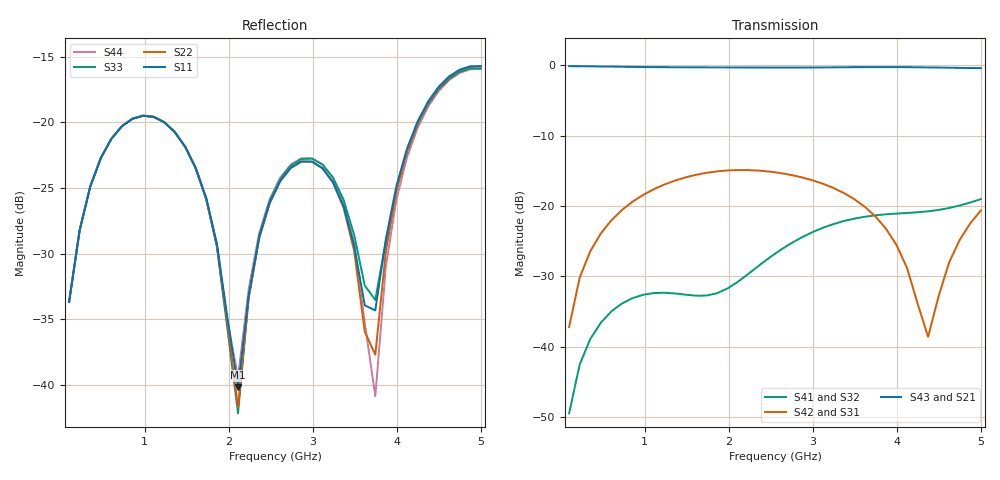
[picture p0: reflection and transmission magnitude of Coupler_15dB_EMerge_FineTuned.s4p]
! Generated by EMerge - 4-port S-parameters
! File generated: 2026-02-18 06:08
! --- Coupler_15dB ---
! Substrate: RO4003C
! h = 0.508 mm
! Design parameters:
! W0 = 1.08 mm
! L_coupled = 22.75 mm
! W_coupled = 1.0 mm
! S_coupled = 0.36 mm
! L_feed = 10.0 mm
! L_trans = 1.0 mm
! Air box height = 10 mm
! Run time = 0.91 min
# GHZ S RI R 50
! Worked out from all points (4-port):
!   40 points, 100 MHz to 5 GHz, reference 50 ohm
!   strongest paths, dB at 100 MHz, 1.356 GHz, 2.613 GHz, 3.869 GHz, 5 GHz:
!     S43: -0.1, -0.3, -0.3, -0.3, -0.4
!     S21: -0.1, -0.3, -0.3, -0.3, -0.4
!     S42: -37.2, -16.4, -15.3, -23.2, -20.6
!     S31: -37.2, -16.4, -15.3, -23.3, -20.6
!     S41: -49.5, -32.4, -26.3, -21.2, -19.0
!     S32: -49.5, -32.5, -26.3, -21.2, -19.0
!   lowest |S11| = -40.2 dB at 2.11 GHz (marker M1), VSWR 1.02, Z = 51 + j0.131 ohm
!   |S11| at or under -10 dB: start of sweep to end of sweep
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0.1  0.0148 0.0145  0.9738 -0.153  0.0022 0.0136  -0.000736 -0.00328
     0.9738 -0.153  0.0148 0.0145  -0.000738 -0.00328  0.00221 0.0136
     0.0022 0.0136  -0.000738 -0.00328  0.0148 0.0146  0.9738 -0.153
     -0.000737 -0.00328  0.00221 0.0136  0.9738 -0.153  0.0148 0.0146
1.105128  0.1032 -0.0183  -0.1329 -0.9616  0.1299 -0.0198  -0.0187 0.0151
          -0.1329 -0.9616  0.1029 -0.0199  -0.0185 0.0152  0.1298 -0.0202
          0.1299 -0.0198  -0.0185 0.0152  0.1031 -0.0194  -0.1331 -0.9615
          -0.0187 0.0151  0.1298 -0.0202  -0.133 -0.9615  0.1032 -0.0189
2.110256  0.00974 0.00128  -0.9594 0.1058  -0.0188 -0.1791  0.00177 0.0289
          -0.9594 0.1058  0.0081 0.0015  0.00169 0.0284  -0.02 -0.179
          -0.0189 -0.1791  0.00169 0.0285  0.00744 0.00236  -0.9593 0.1062
          0.00177 0.0289  -0.0199 -0.179  -0.9594 0.1061  0.0106 0.00195
2.989744  0.0704 0.00745  -0.1043 0.9591  -0.1508 -0.0217  0.0629 0.0158
          -0.1043 0.9591  0.0707 0.00488  0.0625 0.016  -0.1513 -0.0202
          -0.1509 -0.0216  0.0625 0.016  0.0719 0.0104  -0.1039 0.959
          0.063 0.0158  -0.1514 -0.0203  -0.104 0.959  0.073 0.00222
3.869231  0.0102 0.0344  0.9252 0.296  -0.0184 0.0655  0.0228 -0.0841
          0.9251 0.296  0.00322 0.0321  0.0232 -0.0838  -0.0169 0.0669
          -0.0184 0.0656  0.0232 -0.0839  0.0138 0.0325  0.9253 0.2959
          0.0228 -0.0842  -0.017 0.067  0.9253 0.296  0.00146 0.0282
4.371795  0.0758 0.0929  0.8567 -0.4454  0.00817 -0.0059  -0.0429 -0.0809
          0.8566 -0.4453  0.0691 0.0963  -0.0425 -0.0811  0.0102 -0.00585
          0.00825 -0.00584  -0.0426 -0.0812  0.0769 0.0885  0.8568 -0.4458
          -0.043 -0.0809  0.0102 -0.00576  0.857 -0.4457  0.0648 0.0945
5  0.1632 0.009  0.1066 -0.9479  -0.0899 -0.0263  -0.1089 -0.0255
   0.1066 -0.9478  0.1626 0.0127  -0.1092 -0.0259  -0.0889 -0.0277
   -0.0898 -0.0263  -0.1093 -0.0259  0.1601 0.0051  0.1059 -0.9484
   -0.109 -0.0255  -0.0888 -0.0277  0.1061 -0.9485  0.1587 0.0155
